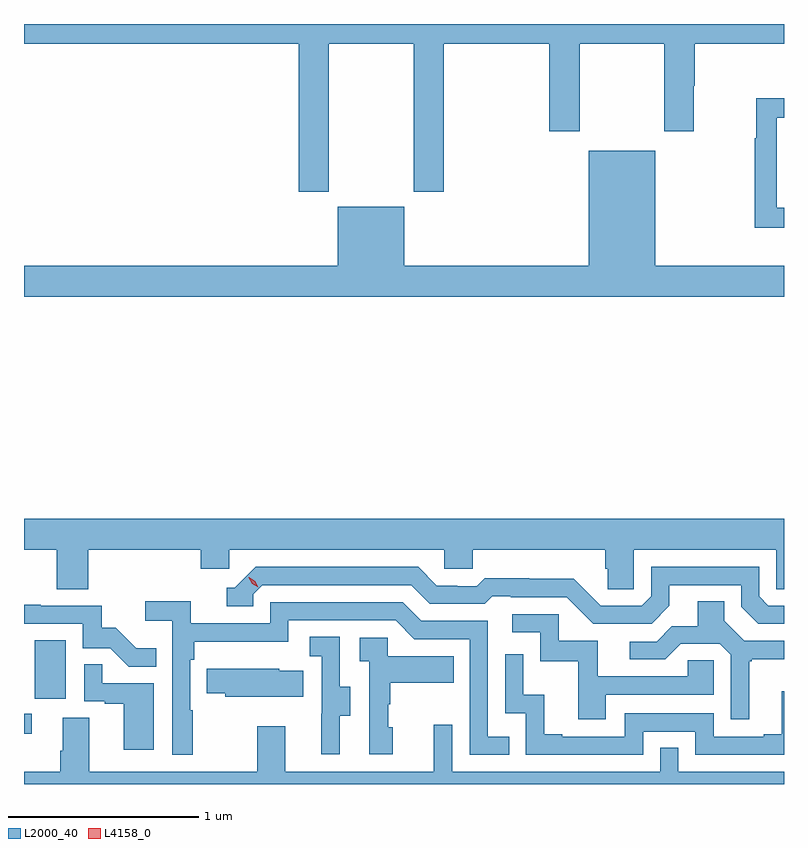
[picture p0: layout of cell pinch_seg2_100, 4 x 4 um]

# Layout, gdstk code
import gdstk
lib = gdstk.Library(unit=1e-6, precision=1e-09)
def R(c, l, rs):  # rectangles x0, y0, x1, y1
    for r in rs: c.add(gdstk.rectangle(r[:2], r[2:], *l))
def P(c, l, *ps):  # polygons
    for p in ps: c.add(gdstk.Polygon(p, *l))
L2000_40 = (2000, 40)
L4158_0 = (4158, 0)

pinch_seg2_100 = lib.new_cell('pinch_seg2_100')
R(pinch_seg2_100, L2000_40, [(1054.152,644.004,1054.192,644.109), (1054.208,644.19,1054.372,644.497)])
P(pinch_seg2_100, L2000_40, [(1055.757,647.636),(1056.202,647.636),(1056.202,646.857),(1056.362,646.857),(1056.362,647.636),(1056.917,647.636),(1056.917,647.175),(1057.077,647.175),(1057.077,647.636),(1057.522,647.636),(1057.522,647.175),(1057.677,647.175),(1057.677,647.414),(1057.682,647.414),(1057.682,647.636),(1058.152,647.636),(1058.152,647.74),(1054.152,647.74),(1054.152,647.636),(1055.597,647.636),(1055.597,646.857),(1055.757,646.857)],
  [(1058.152,646.773),(1058.115,646.773),(1058.115,647.247),(1058.152,647.247),(1058.152,647.348),(1058.007,647.348),(1058.007,647.14),(1057.999,647.14),(1057.999,646.668),(1058.152,646.668)],
  [(1058.152,646.468),(1057.474,646.468),(1057.474,647.074),(1057.124,647.074),(1057.124,646.468),(1056.154,646.468),(1056.154,646.777),(1055.804,646.777),(1055.804,646.468),(1054.152,646.468),(1054.152,646.304),(1058.152,646.304)],
  [(1054.49,644.972),(1055.081,644.972),(1055.081,644.874),(1055.232,644.874),(1055.232,644.972),(1056.363,644.972),(1056.363,644.874),(1056.513,644.874),(1056.513,644.972),(1057.211,644.972),(1057.211,644.874),(1057.225,644.874),(1057.225,644.764),(1057.362,644.764),(1057.362,644.972),(1058.112,644.972),(1058.112,644.764),(1058.152,644.764),(1058.152,645.136),(1054.152,645.136),(1054.152,644.972),(1054.325,644.972),(1054.325,644.764),(1054.49,644.764)],
  [(1057.549,644.677),(1057.549,644.787),(1057.926,644.787),(1057.926,644.673),(1058.016,644.583),(1058.152,644.583),(1058.152,644.679),(1058.07,644.679),(1058.022,644.727),(1058.022,644.883),(1057.452,644.883),(1057.452,644.727),(1057.404,644.679),(1057.188,644.679),(1057.046,644.821),(1056.81,644.821),(1056.81,644.824),(1056.577,644.824),(1056.535,644.781),(1056.432,644.781),(1056.432,644.784),(1056.325,644.784),(1056.226,644.883),(1055.373,644.883),(1055.262,644.772),(1055.219,644.772),(1055.219,644.676),(1055.358,644.676),(1055.358,644.739),(1055.406,644.787),(1056.189,644.787),(1056.288,644.688),(1056.577,644.688),(1056.616,644.727),(1056.715,644.727),(1056.715,644.724),(1057.008,644.724),(1057.149,644.583),(1057.455,644.583)],
  [(1055.041,644.129),(1055.028,644.129),(1055.028,644.393),(1055.047,644.393),(1055.047,644.489),(1055.544,644.489),(1055.544,644.601),(1056.108,644.601),(1056.207,644.502),(1056.498,644.502),(1056.498,643.893),(1056.707,643.893),(1056.707,643.989),(1056.594,643.989),(1056.594,644.598),(1056.244,644.598),(1056.145,644.697),(1055.448,644.697),(1055.448,644.586),(1055.03,644.586),(1055.03,644.702),(1054.791,644.702),(1054.791,644.6),(1054.932,644.6),(1054.932,643.893),(1055.041,643.893)],
  [(1057.969,644.385),(1057.981,644.385),(1057.981,644.396),(1058.152,644.396),(1058.152,644.493),(1057.944,644.493),(1057.837,644.6),(1057.837,644.702),(1057.697,644.702),(1057.697,644.57),(1057.562,644.57),(1057.482,644.49),(1057.341,644.49),(1057.341,644.397),(1057.528,644.397),(1057.609,644.478),(1057.815,644.478),(1057.872,644.421),(1057.872,644.082),(1057.969,644.082)],
  [(1054.847,644.455),(1054.743,644.455),(1054.636,644.562),(1054.56,644.562),(1054.56,644.679),(1054.241,644.679),(1054.241,644.684),(1054.152,644.684),(1054.152,644.583),(1054.461,644.583),(1054.461,644.454),(1054.605,644.454),(1054.703,644.356),(1054.847,644.356)],
  [(1057.213,644.211),(1057.782,644.211),(1057.782,644.391),(1057.645,644.391),(1057.645,644.307),(1057.171,644.307),(1057.171,644.493),(1056.966,644.493),(1056.966,644.634),(1056.723,644.634),(1056.723,644.538),(1056.87,644.538),(1056.87,644.385),(1057.069,644.385),(1057.069,644.082),(1057.213,644.082)],
  [(1055.815,644.098),(1055.869,644.098),(1055.869,644.253),(1055.814,644.253),(1055.814,644.516),(1055.655,644.516),(1055.655,644.413),(1055.718,644.413),(1055.718,644.109),(1055.717,644.109),(1055.717,643.896),(1055.815,643.896)],
  [(1056.094,644.04),(1056.069,644.04),(1056.069,644.159),(1056.079,644.159),(1056.079,644.273),(1056.413,644.273),(1056.413,644.413),(1056.066,644.413),(1056.066,644.511),(1055.919,644.511),(1055.919,644.387),(1055.97,644.387),(1055.97,643.896),(1056.094,643.896)],
  [(1057.41,644.016),(1057.686,644.016),(1057.686,643.893),(1058.152,643.893),(1058.152,644.227),(1058.141,644.227),(1058.141,644.002),(1058.045,644.002),(1058.045,643.989),(1057.782,643.989),(1057.782,644.112),(1057.314,644.112),(1057.314,643.989),(1056.985,643.989),(1056.985,644.002),(1056.89,644.002),(1056.89,644.21),(1056.78,644.21),(1056.78,644.422),(1056.684,644.422),(1056.684,644.112),(1056.792,644.112),(1056.792,643.893),(1057.41,643.893)],
  [(1054.834,644.271),(1054.565,644.271),(1054.565,644.369),(1054.47,644.369),(1054.47,644.175),(1054.577,644.175),(1054.577,644.163),(1054.676,644.163),(1054.676,643.92),(1054.834,643.92)],
  [(1055.621,644.335),(1055.496,644.335),(1055.496,644.347),(1055.113,644.347),(1055.113,644.218),(1055.211,644.218),(1055.211,644.198),(1055.621,644.198)],
  [(1058.152,643.804),(1057.596,643.804),(1057.596,643.931),(1057.5,643.931),(1057.5,643.804),(1056.405,643.804),(1056.405,644.053),(1056.308,644.053),(1056.308,643.804),(1055.527,643.804),(1055.527,644.044),(1055.38,644.044),(1055.38,643.804),(1054.495,643.804),(1054.495,644.09),(1054.355,644.09),(1054.355,643.916),(1054.343,643.916),(1054.343,643.804),(1054.152,643.804),(1054.152,643.74),(1058.152,643.74)])
P(pinch_seg2_100, L4158_0, [(1055.384,644.775),(1055.353,644.794),(1055.336,644.826),(1055.336,644.827),(1055.337,644.827),(1055.368,644.807),(1055.384,644.775),(1055.384,644.775)])

lib.write_gds('pinch_seg2_100.gds')
